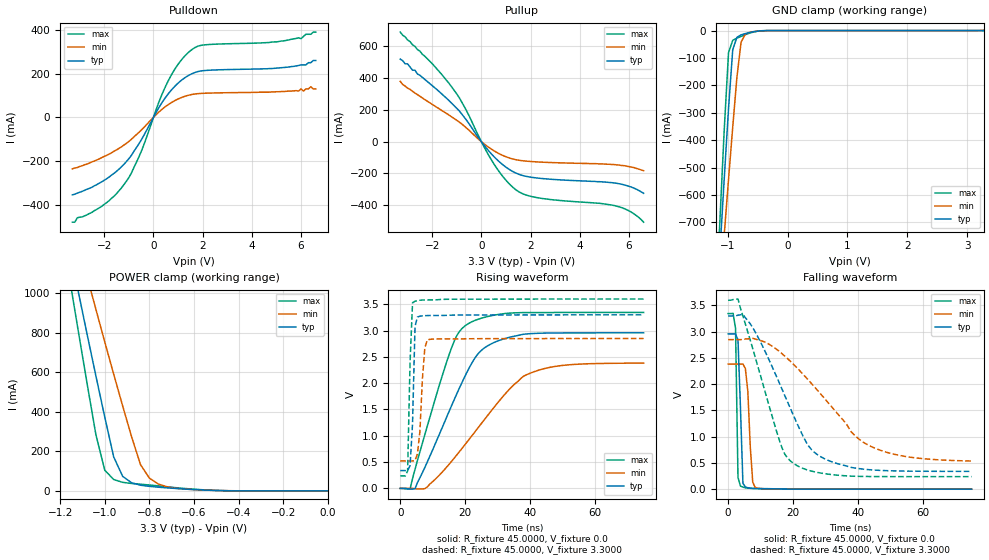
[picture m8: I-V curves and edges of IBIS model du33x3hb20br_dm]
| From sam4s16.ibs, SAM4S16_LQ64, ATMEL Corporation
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[Model] du33x3hb20br_dm
| config_pins "" "" dm
Model_type I/O
Polarity   Inverting
Enable   Active-Low
Vinl =   0.8000V
Vinh =   1.3000V
Vmeas =  0.0V
C_comp   5.0000pF   5.0000pF   5.0000pF
[Temperature Range]   25.0000   0.1250k   -40.0000
[Voltage Range]   3.3000V   2.8500V   3.6000V
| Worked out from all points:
|   slope of the pulldown table from 0 to 0.495 V, typ, clamps not added: 5.41 ohm
|   slope of the pullup table from 0 to 0.495 V, typ, clamps not added: 5.41 ohm
|   GND clamp passes 1 mA (typ) near -0.45 V on its own axis
|   POWER clamp passes 1 mA (typ) near -0.45 V on its own axis
|   rising waveform, R_fixture 45.0000, V_fixture 0.0: 20-80 % time 12.9ns typ, 18.7ns min, 9.89ns max; typ from 0 V to 2.96 V
|   rising waveform, R_fixture 45.0000, V_fixture 3.3000: 20-80 % time 893ps typ, 1.32ns min, 899ps max; typ from 0.338 V to 3.3 V
|   falling waveform, R_fixture 45.0000, V_fixture 0.0: 20-80 % time 986ps typ, 1.2ns min, 536ps max; typ from 2.96 V to 0 V
|   falling waveform, R_fixture 45.0000, V_fixture 3.3000: 20-80 % time 13ns typ, 19.5ns min, 9.52ns max; typ from 3.3 V to 0.339 V
[Pulldown]
|Voltage   I(typ)   I(min)   I(max)
-3.3V     -355mA     -236mA     -480mA
-1.9V     -281mA     -174mA     -390mA
-1.1V     -202.6mA   -119mA     -292.5mA
-500mV    -104.5mA   -59.15mA   -157.3mA
200mV     40.63mA    22.04mA    63.48mA
600mV     107.3mA    57.97mA    166.7mA
1V        156.3mA    83.77mA    242.4mA
1.5V      195.9mA    103mA      304.4mA
2.1V      214.2mA    110.2mA    331.7mA
6V        240mA      130mA      360mA
6.1V      240mA      120mA      370mA
6.6V      260mA      130mA      390mA
[Pullup]
|Voltage   I(typ)   I(min)   I(max)
-3.3V     520mA      380mA      690mA
-2V       353mA      235mA      491mA
-1.2V     241mA      155mA      343mA
-700mV    154.5mA    98.65mA    221.9mA
100mV     -20.4mA    -12.64mA   -30.19mA
500mV     -92.37mA   -56.28mA   -137.8mA
1V        -160.5mA   -95.08mA   -242.9mA
1.4V      -197.4mA   -113.4mA   -302.6mA
2.4V      -231.1mA   -128.5mA   -355.9mA
5.4V      -260mA     -144mA     -402mA
6V        -281mA     -157mA     -435mA
6.6V      -325mA     -183mA     -507mA
[GND_clamp]
|Voltage   I(typ)   I(min)   I(max)
-3.3V     -9.401A    -7.643A    -11.32A
-1.2V     -1.053A    -1.144A    -998.2mA
-1.13V    -790.4mA   -940.1mA   -671.5mA
-1.06V    -532.9mA   -739mA     -353.3mA
-990mV    -283.9mA   -542.6mA   -80.5mA
-920mV    -70.09mA   -352.5mA   -35.61mA
-850mV    -24.48mA   -170.5mA   -27.74mA
-780mV    -15.66mA   -41.83mA   -21.24mA
-710mV    -10.91mA   -13.6mA    -14.98mA
-640mV    -7.092mA   -6.604mA   -9.548mA
-430mV    -607.2uA   -840.4uA   -553.5uA
3.28V     936.9pA    963.8uA    6.548nA
[POWER_clamp]
|Voltage   I(typ)   I(min)   I(max)
-3.28V    13.67A     11.1A      16.5A
-1.16V    1.237A     1.431A     1.091A
-1.12V    1.016A     1.259A     817.9mA
-1.08V    797.8mA    1.089A     548.7mA
-1.04V    583.3mA    920.5mA    286mA
-1V       373.5mA    754.3mA    104.8mA
-960mV    172.2mA    591mA      57.8mA
-920mV    74.03mA    431mA      43.45mA
-840mV    29.02mA    133.4mA    34.11mA
-800mV    23.04mA    64.64mA    30.08mA
-640mV    9.352mA    9.201mA    12.31mA
0V        1.037nA    19.81nA    67.68nA
[Ramp]
| variable   typ   min   max
dV/dt_r  1.7748/12.8002n   1.4292/18.4757n   2.0070/9.7916n
dV/dt_f  1.7767/12.8776n   1.3885/20.0282n   2.0170/9.4191n
R_load = 45.0000
[Rising Waveform]
R_fixture= 45.0000
V_fixture= 0.0
V_fixture_min= 0.0
V_fixture_max= 0.0
|time   V(typ)   V(min)   V(max)
0s        0V         0V         0V
3.03ns    -11.33mV   36.6nV     -10.54mV
4.55ns    -5.398mV   -8.637mV   360.5mV
8.33ns    501.6mV    26.7mV     1.183V
15.15ns   1.478V     465.6mV    2.56V
20.45ns   2.197V     871.9mV    3.112V
26.52ns   2.695V     1.354V     3.262V
38.64ns   2.935V     2.153V     3.343V
50.76ns   2.957V     2.343V     3.345V
75ns      2.958V     2.382V     3.345V
[Rising Waveform]
R_fixture= 45.0000
V_fixture= 3.3000
V_fixture_min= 2.8500
V_fixture_max= 3.6000
|time   V(typ)   V(min)   V(max)
0s        338.4mV    521.5mV    238.4mV
2.27ns    333.7mV    521.5mV    329.9mV
3.03ns    431.5mV    521.5mV    2.41V
3.79ns    1.23V      521.5mV    3.53V
4.55ns    3.076V     530mV      3.559V
6.06ns    3.274V     1.084V     3.578V
6.82ns    3.281V     2.073V     3.581V
7.58ns    3.284V     2.674V     3.583V
8.33ns    3.286V     2.822V     3.583V
75ns      3.3V       2.85V      3.6V
[Falling Waveform]
R_fixture= 45.0000
V_fixture= 0.0
V_fixture_min= 0.0
V_fixture_max= 0.0
|time   V(typ)   V(min)   V(max)
0s        2.958V     2.384V     3.345V
2.27ns    2.958V     2.384V     3.068V
3.03ns    2.843V     2.384V     224.6mV
3.79ns    1.55V      2.384V     58.44mV
4.55ns    111.6mV    2.384V     37.89mV
6.06ns    26.65mV    1.867V     19.61mV
6.82ns    19.15mV    803.7mV    16.3mV
7.58ns    14.07mV    132.3mV    14.7mV
8.33ns    11.59mV    32.9mV     14.18mV
75ns      14.05uV    157.1uV    4.826uV
[Falling Waveform]
R_fixture= 45.0000
V_fixture= 3.3000
V_fixture_min= 2.8500
V_fixture_max= 3.6000
|time   V(typ)   V(min)   V(max)
0s        3.3V       2.85V      3.6V
3.03ns    3.315V     2.85V      3.622V
7.58ns    3.076V     2.874V     2.677V
15.91ns   2.003V     2.616V     907.1mV
19.7ns    1.464V     2.405V     511.3mV
24.24ns   873.8mV    2.111V     369.6mV
27.27ns   668mV      1.901V     321.6mV
42.42ns   376.7mV    864.9mV    241.9mV
54.55ns   344.3mV    623.7mV    238.7mV
75ns      338.8mV    535.8mV    238.4mV
